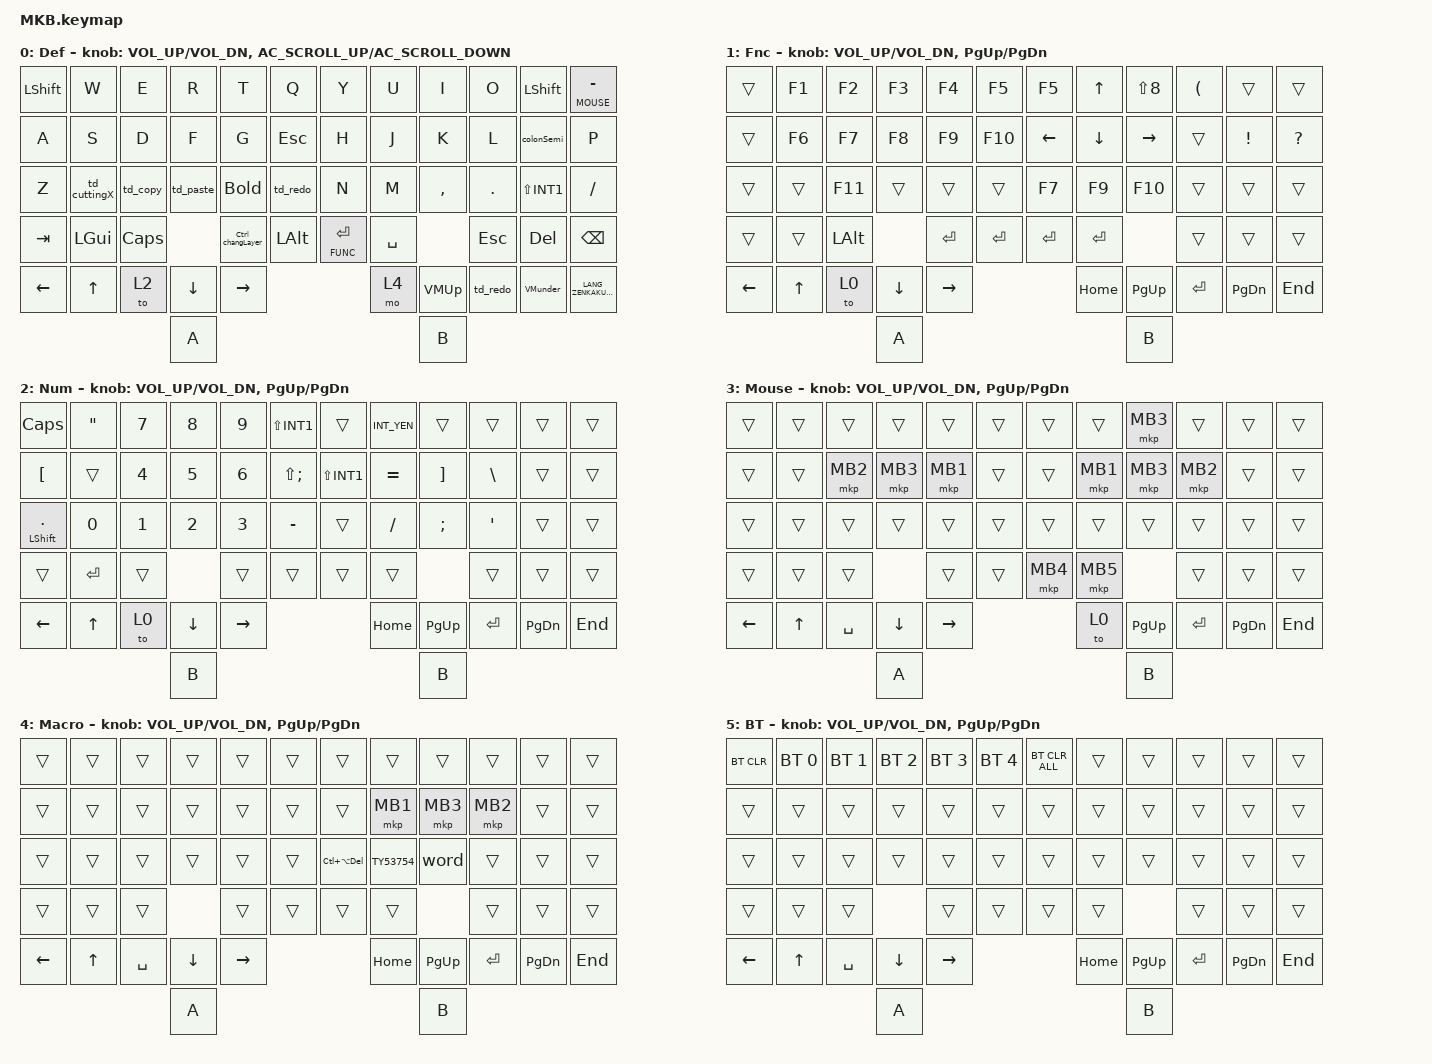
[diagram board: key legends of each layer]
// #include <layout_shift.dtsi>

#include <layout_shift_kp_override.dtsi>
#include <behaviors.dtsi>
#include <dt-bindings/zmk/bt.h>
#include <dt-bindings/zmk/keys.h>
#include <dt-bindings/zmk/pointing.h>

#define DEF 0
#define FUNC 1
#define NUM 2
#define MOUSE 3
#define SCROLL 4
#define BT 5

&mt {
    flavor = "balanced";
    tapping-term-ms = <280>;
    quick-tap-ms = <175>;
    require-prior-idle-ms = <150>;
};

/ {
    combos {
        compatible = "zmk,combos";

        twinTap_TAB {
            bindings = <&kp TAB>;
            key-positions = <18 19>;
        };
    };

    behaviors {
        td_copy: td_copy {
            compatible = "zmk,behavior-tap-dance";
            label = "TD_COPY";
            #binding-cells = <0>;
            bindings = <&kp C>, <&kp LC(C)>;

            tapping-term-ms = <180>;
        };

        td_paste: td_paste {
            compatible = "zmk,behavior-tap-dance";
            label = "TD_PASTE";
            #binding-cells = <0>;
            bindings = <&kp V>, <&kp LC(V)>;

            tapping-term-ms = <180>;
        };

        td_redo: td_redo {
            compatible = "zmk,behavior-tap-dance";
            label = "TD_REDO";
            #binding-cells = <0>;
            bindings = <&kp LC(Z)>;
            tapping-term-ms = <180>;
        };

        td_cuttingX: td_cuttingX {
            compatible = "zmk,behavior-tap-dance";
            label = "TD_CUTTINGX";
            #binding-cells = <0>;
            bindings = <&kp X>, <&kp LC(X)>;

            tapping-term-ms = <180>;
        };

        Ctrl_changLayer: Ctrl_changLayer {
            compatible = "zmk,behavior-tap-dance";
            label = "CTRL_CHANGLAYER";
            #binding-cells = <0>;
            bindings = <&kp LCTRL>, <&lt 2 LCTRL>;

            tapping-term-ms = <180>;
        };

        Bold: Bold {
            compatible = "zmk,behavior-tap-dance";
            label = "BOLD";
            #binding-cells = <0>;
            bindings = <&kp B>, <&kp LC(B)>;
        };

        colonSemi: colonSemi {
            compatible = "zmk,behavior-tap-dance";
            label = "COLONSEMI";
            #binding-cells = <0>;
            bindings = <&kp COLON>, <&kp SEMI>;

            tapping-term-ms = <180>;
        };
    };

    macros {
        TY53754: TY53754 {
            compatible = "zmk,behavior-macro";
            #binding-cells = <0>;
            bindings = <&kp LS(T) &kp LS(Y) &kp N5 &kp N3 &kp N7 &kp N5 &kp N4>;
            label = "TY53754";
            tap-ms = <150>;
        };

        word: word {
            compatible = "zmk,behavior-macro";
            #binding-cells = <0>;
            bindings = <&kp N0 &kp N5 &kp N0 &kp N2 &kp H &kp A &kp S &kp I &kp LS(M)>;
            label = "word";
        };

        VMUp: VMUp {
            compatible = "zmk,behavior-macro";
            #binding-cells = <0>;

            //bindings = <&kp LC(LG(RIGHT_ARROW))>;

            bindings = <&kp LC(LG(RIGHT_ARROW))>;
            label = "VMUP";
        };

        VMunder: VMunder {
            compatible = "zmk,behavior-macro";
            #binding-cells = <0>;
            bindings = <&kp LC(LG(LEFT_ARROW))>;
            label = "VMUNDER";
        };
    };

    //通常keymap

    keymap {
        compatible = "zmk,keymap";

        default_layer {
            label = "Def";
            bindings = <
&kp LEFT_SHIFT  &kp W         &kp E     &kp R      &kp T             &kp Q             &kp Y           &kp U      &kp I      &kp O       &kp LEFT_SHIFT  &lt MOUSE MINUS
&kp A           &kp S         &kp D     &kp F      &kp G             &kp ESCAPE        &kp H           &kp J      &kp K      &kp L       &colonSemi      &kp P
&kp Z           &td_cuttingX  &td_copy  &td_paste  &Bold             &td_redo          &kp N           &kp M      &kp COMMA  &kp DOT     &kp LS(INT1)    &kp FSLH
&kp TAB         &kp LGUI      &kp CAPS             &Ctrl_changLayer  &kp LEFT_ALT      &lt FUNC ENTER  &kp SPACE             &kp ESCAPE  &kp DELETE      &kp BACKSPACE
&kp LEFT        &kp UP        &to 2     &kp DOWN   &kp RIGHT                                           &mo 4      &VMUp      &td_redo    &VMunder        &kp LANG_ZENKAKUHANKAKU
                                        &kp A                                                                     &kp B
            >;

            sensor-bindings =
                <&inc_dec_kp C_VOL_UP C_VOL_DN>,
                <&inc_dec_kp C_AC_SCROLL_UP C_AC_SCROLL_DOWN>;
        };

        function_layer {
            label = "Fnc";
            bindings = <
&trans    &kp F1  &kp F2    &kp F3    &kp F4     &kp F5         &kp F5          &kp UP_ARROW    &kp LS(N8)       &kp LPAR   &trans           &trans
&trans    &kp F6  &kp F7    &kp F8    &kp F9     &kp F10        &kp LEFT_ARROW  &kp DOWN_ARROW  &kp RIGHT_ARROW  &trans     &kp EXCLAMATION  &kp QMARK
&trans    &trans  &kp F11   &trans    &trans     &trans         &kp F7          &kp F9          &kp F10          &trans     &trans           &trans
&trans    &trans  &kp LALT            &kp ENTER  &kp ENTER      &kp ENTER       &kp ENTER                        &trans     &trans           &trans
&kp LEFT  &kp UP  &to 0     &kp DOWN  &kp RIGHT                                 &kp HOME        &kp PG_UP        &kp ENTER  &kp PG_DN        &kp END
                            &kp A                                                               &kp B
            >;

            sensor-bindings = <&inc_dec_kp C_VOL_UP C_VOL_DN &inc_dec_kp PG_UP PG_DN>;
        };

        num_layer {
            label = "Num";
            bindings = <
&kp CAPS          &kp DOUBLE_QUOTES  &kp N7  &kp N8    &kp N9     &kp LS(INT1)      &trans        &kp INT_YEN  &trans     &trans         &trans     &trans
&kp LBKT          &trans             &kp N4  &kp N5    &kp N6     &kp LS(SEMI)      &kp LS(INT1)  &kp EQUAL    &kp RBKT   &kp BACKSLASH  &trans     &trans
&mt LSHFT PERIOD  &kp N0             &kp N1  &kp N2    &kp N3     &kp MINUS         &trans        &kp FSLH     &kp SEMI   &kp SQT        &trans     &trans
&trans            &kp ENTER          &trans            &trans     &trans            &trans        &trans                  &trans         &trans     &trans
&kp LEFT          &kp UP             &to 0   &kp DOWN  &kp RIGHT                                  &kp HOME     &kp PG_UP  &kp ENTER      &kp PG_DN  &kp END
                                             &kp B                                                             &kp B
            >;

            sensor-bindings = <&inc_dec_kp C_VOL_UP C_VOL_DN &inc_dec_kp PG_UP PG_DN>;
        };

        mouse_layer {
            label = "Mouse";
            bindings = <
&trans    &trans  &trans     &trans    &trans     &trans      &trans    &trans    &mkp MB3   &trans     &trans     &trans
&trans    &trans  &mkp MB2   &mkp MB3  &mkp MB1   &trans      &trans    &mkp MB1  &mkp MB3   &mkp MB2   &trans     &trans
&trans    &trans  &trans     &trans    &trans     &trans      &trans    &trans    &trans     &trans     &trans     &trans
&trans    &trans  &trans               &trans     &trans      &mkp MB4  &mkp MB5             &trans     &trans     &trans
&kp LEFT  &kp UP  &kp SPACE  &kp DOWN  &kp RIGHT                        &to 0     &kp PG_UP  &kp ENTER  &kp PG_DN  &kp END
                             &kp A                                                &kp B
            >;

            sensor-bindings = <&inc_dec_kp C_VOL_UP C_VOL_DN &inc_dec_kp PG_UP PG_DN>;
        };

        scroll_layer {
            label = "Macro";
            bindings = <
&trans    &trans  &trans     &trans    &trans     &trans      &trans              &trans    &trans     &trans     &trans     &trans
&trans    &trans  &trans     &trans    &trans     &trans      &trans              &mkp MB1  &mkp MB3   &mkp MB2   &trans     &trans
&trans    &trans  &trans     &trans    &trans     &trans      &kp LC(LA(DELETE))  &TY53754  &word      &trans     &trans     &trans
&trans    &trans  &trans               &trans     &trans      &trans              &trans               &trans     &trans     &trans
&kp LEFT  &kp UP  &kp SPACE  &kp DOWN  &kp RIGHT                                  &kp HOME  &kp PG_UP  &kp ENTER  &kp PG_DN  &kp END
                             &kp A                                                          &kp B
            >;

            sensor-bindings = <&inc_dec_kp C_VOL_UP C_VOL_DN &inc_dec_kp PG_UP PG_DN>;
        };

        bt_layer {
            label = "BT";
            bindings = <
&bt BT_CLR  &bt BT_SEL 0  &bt BT_SEL 1  &bt BT_SEL 2  &bt BT_SEL 3  &bt BT_SEL 4      &bt BT_CLR_ALL  &trans    &trans     &trans     &trans     &trans
&trans      &trans        &trans        &trans        &trans        &trans            &trans          &trans    &trans     &trans     &trans     &trans
&trans      &trans        &trans        &trans        &trans        &trans            &trans          &trans    &trans     &trans     &trans     &trans
&trans      &trans        &trans                      &trans        &trans            &trans          &trans               &trans     &trans     &trans
&kp LEFT    &kp UP        &kp SPACE     &kp DOWN      &kp RIGHT                                       &kp HOME  &kp PG_UP  &kp ENTER  &kp PG_DN  &kp END
                                        &kp A                                                                   &kp B
            >;

            sensor-bindings = <&inc_dec_kp C_VOL_UP C_VOL_DN &inc_dec_kp PG_UP PG_DN>;
        };
    };
};
